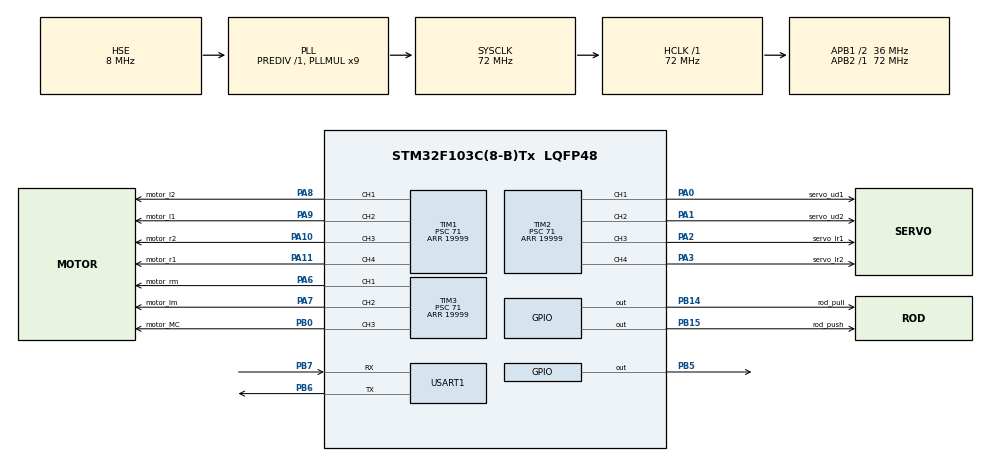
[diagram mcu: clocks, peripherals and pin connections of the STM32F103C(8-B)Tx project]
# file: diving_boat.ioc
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Dma.Request0=USART1_RX
Dma.Request1=USART1_TX
Dma.USART1_RX.0.Direction=DMA_PERIPH_TO_MEMORY
Dma.USART1_RX.0.Instance=DMA1_Channel5
Dma.USART1_RX.0.MemDataAlignment=DMA_MDATAALIGN_BYTE
Dma.USART1_RX.0.MemInc=DMA_MINC_ENABLE
Dma.USART1_RX.0.Mode=DMA_NORMAL
Dma.USART1_RX.0.PeriphDataAlignment=DMA_PDATAALIGN_BYTE
Dma.USART1_RX.0.PeriphInc=DMA_PINC_DISABLE
Dma.USART1_RX.0.Priority=DMA_PRIORITY_MEDIUM
Dma.USART1_TX.1.Direction=DMA_MEMORY_TO_PERIPH
Dma.USART1_TX.1.Instance=DMA1_Channel4
Dma.USART1_TX.1.MemDataAlignment=DMA_MDATAALIGN_BYTE
Dma.USART1_TX.1.MemInc=DMA_MINC_ENABLE
Dma.USART1_TX.1.Mode=DMA_NORMAL
Dma.USART1_TX.1.PeriphDataAlignment=DMA_PDATAALIGN_BYTE
Dma.USART1_TX.1.PeriphInc=DMA_PINC_DISABLE
Dma.USART1_TX.1.Priority=DMA_PRIORITY_MEDIUM
Mcu.Family=STM32F1
Mcu.Name=STM32F103C(8-B)Tx
Mcu.Package=LQFP48
NVIC.DMA1_Channel4_IRQn=true\:0\:0\:false\:false\:true\:false\:true\:true
NVIC.DMA1_Channel5_IRQn=true\:0\:0\:false\:false\:true\:false\:true\:true
NVIC.PriorityGroup=NVIC_PRIORITYGROUP_4
NVIC.USART1_IRQn=true\:0\:0\:false\:false\:true\:true\:true\:true
PA0-WKUP.GPIO_Label=servo_ud1
PA0-WKUP.Signal=S_TIM2_CH1_ETR
PA1.GPIO_Label=servo_ud2
PA1.Signal=S_TIM2_CH2
PA10.GPIO_Label=motor_r2
PA10.Signal=S_TIM1_CH3
PA11.GPIO_Label=motor_r1
PA11.Signal=S_TIM1_CH4
PA2.GPIO_Label=servo_lr1
PA2.Signal=S_TIM2_CH3
PA3.GPIO_Label=servo_lr2
PA3.Signal=S_TIM2_CH4
PA6.GPIO_Label=motor_rm
PA6.Signal=S_TIM3_CH1
PA7.GPIO_Label=motor_lm
PA7.Signal=S_TIM3_CH2
PA8.GPIO_Label=motor_l2
PA8.Signal=S_TIM1_CH1
PA9.GPIO_Label=motor_l1
PA9.Signal=S_TIM1_CH2
PB0.GPIO_Label=motor_MC
PB0.Signal=S_TIM3_CH3
PB14.GPIO_Label=rod_pull
PB14.GPIO_PuPd=GPIO_PULLDOWN
PB14.GPIO_Speed=GPIO_SPEED_FREQ_LOW
PB14.Signal=GPIO_Output
PB15.GPIO_Label=rod_push
PB15.GPIO_PuPd=GPIO_PULLDOWN
PB15.Signal=GPIO_Output
PB5.Signal=GPIO_Output
PB6.Mode=Asynchronous
PB6.Signal=USART1_TX
PB7.Mode=Asynchronous
PB7.Signal=USART1_RX
PD0-OSC_IN.Mode=HSE-External-Oscillator
PD0-OSC_IN.Signal=RCC_OSC_IN
PD1-OSC_OUT.Mode=HSE-External-Oscillator
PD1-OSC_OUT.Signal=RCC_OSC_OUT
ProjectManager.HeapSize=0x200
ProjectManager.StackSize=0x400
ProjectManager.TargetToolchain=MDK-ARM V5.32
RCC.AHBFreq_Value=72000000
RCC.APB1CLKDivider=RCC_HCLK_DIV2
RCC.APB1Freq_Value=36000000
RCC.APB1TimFreq_Value=72000000
RCC.APB2Freq_Value=72000000
RCC.APB2TimFreq_Value=72000000
RCC.HCLKFreq_Value=72000000
RCC.PLLMUL=RCC_PLL_MUL9
RCC.PLLSourceVirtual=RCC_PLLSOURCE_HSE
RCC.SYSCLKFreq_VALUE=72000000
RCC.SYSCLKSource=RCC_SYSCLKSOURCE_PLLCLK
RCC.USBFreq_Value=72000000
SH.S_TIM1_CH1.0=TIM1_CH1,PWM Generation1 CH1
SH.S_TIM1_CH2.0=TIM1_CH2,PWM Generation2 CH2
SH.S_TIM1_CH3.0=TIM1_CH3,PWM Generation3 CH3
SH.S_TIM1_CH4.0=TIM1_CH4,PWM Generation4 CH4
SH.S_TIM2_CH1_ETR.0=TIM2_CH1,PWM Generation1 CH1
SH.S_TIM2_CH2.0=TIM2_CH2,PWM Generation2 CH2
SH.S_TIM2_CH3.0=TIM2_CH3,PWM Generation3 CH3
SH.S_TIM2_CH4.0=TIM2_CH4,PWM Generation4 CH4
SH.S_TIM3_CH1.0=TIM3_CH1,PWM Generation1 CH1
SH.S_TIM3_CH2.0=TIM3_CH2,PWM Generation2 CH2
SH.S_TIM3_CH3.0=TIM3_CH3,PWM Generation3 CH3
TIM1.Channel-PWM\ Generation1\ CH1=TIM_CHANNEL_1
TIM1.Channel-PWM\ Generation2\ CH2=TIM_CHANNEL_2
TIM1.Channel-PWM\ Generation3\ CH3=TIM_CHANNEL_3
TIM1.Channel-PWM\ Generation4\ CH4=TIM_CHANNEL_4
TIM1.Period=19999
TIM1.Prescaler=71
TIM2.Channel-PWM\ Generation1\ CH1=TIM_CHANNEL_1
TIM2.Channel-PWM\ Generation2\ CH2=TIM_CHANNEL_2
TIM2.Channel-PWM\ Generation3\ CH3=TIM_CHANNEL_3
TIM2.Channel-PWM\ Generation4\ CH4=TIM_CHANNEL_4
TIM2.Period=19999
TIM2.Prescaler=71
TIM3.Channel-PWM\ Generation1\ CH1=TIM_CHANNEL_1
TIM3.Channel-PWM\ Generation2\ CH2=TIM_CHANNEL_2
TIM3.Channel-PWM\ Generation3\ CH3=TIM_CHANNEL_3
TIM3.Period=19999
TIM3.Prescaler=71
USART1.VirtualMode=VM_ASYNC
VP_SYS_VS_ND.Mode=No_Debug
board=custom

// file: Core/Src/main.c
/* USER CODE BEGIN Header */
/**
  ******************************************************************************
  * @file           : main.c
  * @brief          : Main program body
  ******************************************************************************
  * @attention
  *
  * Copyright (c) 2023 STMicroelectronics.
  * All rights reserved.
  *
  * This software is licensed under terms that can be found in the LICENSE file
  * in the root directory of this software component.
  * If no LICENSE file comes with this software, it is provided AS-IS.
  *
  ******************************************************************************
  */
/* USER CODE END Header */
#include "main.h"
#include "dma.h"
#include "tim.h"
#include "usart.h"
#include "gpio.h"

/* USER CODE BEGIN Includes */
#include "string.h"
#include "servoTo.h"
#include "motor_ship.h"
#include "stdlib.h"
/* USER CODE END Includes */

void SystemClock_Config(void);

/* USER CODE BEGIN 0 */
Servo_init Servo_ud1;
Servo_init Servo_ud2;
Servo_init Servo_lr1;
Servo_init Servo_lr2;
Servo_init Motor_l1;
Servo_init Motor_l2;
Servo_init Motor_r1;
Servo_init Motor_r2;
Servo_init Motor_MC;
/* USER CODE END 0 */

int main(void)
{
  /* USER CODE BEGIN 1 */
    servo_Pin_Init(&Servo_ud1,&htim2,servo_ud1_GPIO_Port,servo_ud1_Pin,TIM_CHANNEL_1);
    servo_Pin_Init(&Servo_ud2,&htim2,servo_ud2_GPIO_Port,servo_ud2_Pin,TIM_CHANNEL_2);
    servo_Pin_Init(&Servo_lr1,&htim2,servo_lr1_GPIO_Port,servo_lr1_Pin,TIM_CHANNEL_3);
    servo_Pin_Init(&Servo_lr2,&htim2,servo_lr2_GPIO_Port,servo_lr2_Pin,TIM_CHANNEL_4);
    servo_Pin_Init(&Motor_l2,&htim1,motor_l2_GPIO_Port,motor_l2_Pin,TIM_CHANNEL_1);
    servo_Pin_Init(&Motor_l1,&htim1,motor_l1_GPIO_Port,motor_l1_Pin,TIM_CHANNEL_2);
    servo_Pin_Init(&Motor_r2,&htim1,motor_r2_GPIO_Port,motor_r2_Pin,TIM_CHANNEL_3);
    servo_Pin_Init(&Motor_r1,&htim1,motor_r1_GPIO_Port,motor_r1_Pin,TIM_CHANNEL_4);
    servo_Pin_Init(&Motor_MC,&htim3,motor_MC_GPIO_Port,motor_MC_Pin,TIM_CHANNEL_3);
  /* USER CODE END 1 */

  /* MCU Configuration--------------------------------------------------------*/

  /* Reset of all peripherals, Initializes the Flash interface and the Systick. */
  HAL_Init();

  /* Configure the system clock */
  SystemClock_Config();

  /* Initialize all configured peripherals */
  MX_GPIO_Init();
  MX_DMA_Init();
  MX_USART1_UART_Init();
  MX_TIM1_Init();
  MX_TIM2_Init();
  MX_TIM3_Init();
  /* USER CODE BEGIN 2 */
  HAL_GPIO_WritePin(rod_pull_GPIO_Port,rod_pull_Pin,GPIO_PIN_RESET);
  HAL_GPIO_WritePin(rod_push_GPIO_Port,rod_push_Pin,GPIO_PIN_RESET);
  boat_motor_init(&Motor_l1,&Motor_l2,&Motor_r1,&Motor_r2);
  boat_servo_init(&Servo_ud1,&Servo_ud2,&Servo_lr1,&Servo_lr2);
  uint8_t speed_motor = 45;
  /* USER CODE END 2 */

  /* Infinite loop */
  /* USER CODE BEGIN WHILE */

   uint8_t toangle=0;
   int i;
  while (1)
  {

      boat_control(&Motor_l1,&Motor_l2,&Motor_r1,&Motor_r2,&Servo_ud1,&Servo_ud2,&Servo_lr1,&Servo_lr2);
    /* USER CODE END WHILE */

    /* USER CODE BEGIN 3 */
//        if(recv_end_flag == 1)  //接收完成标志
//		{
//			//HAL_UART_Transmit_DMA(&huart1, (uint8_t*)"okni",4);
//			DMA_Usart1_Send(rx_buffer, rx_len);
//            HAL_Delay(1);
//			recv_end_flag = 0;//清除接收结束标志�?
//            con_boat_state(&Motor_r1,&Motor_r2,&Motor_l1,&Motor_l2);
//        }
//		HAL_UART_Receive_DMA(&huart1,rx_buffer,BUFFER_SIZE);//重新打开DMA接收
//        Servo_To(&Motor_l1,180);
//        HAL_Delay(1000);
//        Servo_To(&Motor_l1,0);
//        HAL_Delay(1000);
  }

  /* USER CODE END 3 */
}

void SystemClock_Config(void)
{
  RCC_OscInitTypeDef RCC_OscInitStruct = {0};
  RCC_ClkInitTypeDef RCC_ClkInitStruct = {0};

  /** Initializes the RCC Oscillators according to the specified parameters
  * in the RCC_OscInitTypeDef structure.
  */
  RCC_OscInitStruct.OscillatorType = RCC_OSCILLATORTYPE_HSE;
  RCC_OscInitStruct.HSEState = RCC_HSE_ON;
  RCC_OscInitStruct.HSEPredivValue = RCC_HSE_PREDIV_DIV1;
  RCC_OscInitStruct.HSIState = RCC_HSI_ON;
  RCC_OscInitStruct.PLL.PLLState = RCC_PLL_ON;
  RCC_OscInitStruct.PLL.PLLSource = RCC_PLLSOURCE_HSE;
  RCC_OscInitStruct.PLL.PLLMUL = RCC_PLL_MUL9;
  if (HAL_RCC_OscConfig(&RCC_OscInitStruct) != HAL_OK)
  {
    Error_Handler();
  }

  /** Initializes the CPU, AHB and APB buses clocks
  */
  RCC_ClkInitStruct.ClockType = RCC_CLOCKTYPE_HCLK|RCC_CLOCKTYPE_SYSCLK
                              |RCC_CLOCKTYPE_PCLK1|RCC_CLOCKTYPE_PCLK2;
  RCC_ClkInitStruct.SYSCLKSource = RCC_SYSCLKSOURCE_PLLCLK;
  RCC_ClkInitStruct.AHBCLKDivider = RCC_SYSCLK_DIV1;
  RCC_ClkInitStruct.APB1CLKDivider = RCC_HCLK_DIV2;
  RCC_ClkInitStruct.APB2CLKDivider = RCC_HCLK_DIV1;

  if (HAL_RCC_ClockConfig(&RCC_ClkInitStruct, FLASH_LATENCY_2) != HAL_OK)
  {
    Error_Handler();
  }
}

void Error_Handler(void)
{
  __disable_irq();
  while (1)
  {
  }
}
